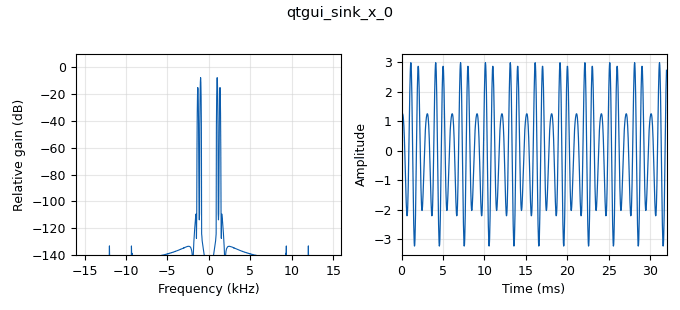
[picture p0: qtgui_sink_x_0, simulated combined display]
options:
  parameters:
    generate_options: qt_gui
    id: sineWave
    output_language: python
    title: Your First Flowgraph
  states: {}

blocks:
- name: frq1
  id: variable_qtgui_range
  parameters:
    orient: Qt.Horizontal
    start: '1000'
    step: '100'
    stop: '10000'
    value: '1000'
  states: {}
- name: samp_rate
  id: variable
  parameters:
    value: '32000'
  states: {}
- name: analog_sig_source_x_0
  id: analog_sig_source_x
  parameters:
    amp: '1'
    freq: frq1
    offset: '0'
    phase: '0'
    samp_rate: samp_rate
    type: float
    waveform: analog.GR_SIN_WAVE
  states: {}
- name: analog_sig_source_x_1
  id: analog_sig_source_x
  parameters:
    amp: '1'
    freq: frq1
    offset: '0'
    phase: '0'
    samp_rate: '24000'
    type: float
    waveform: analog.GR_SIN_WAVE
  states: {}
- name: analog_sig_source_x_2
  id: analog_sig_source_x
  parameters:
    amp: '1'
    freq: frq1
    offset: '0'
    phase: '0'
    samp_rate: samp_rate
    type: float
    waveform: analog.GR_COS_WAVE
  states: {}
- name: analog_sig_source_x_3
  id: analog_sig_source_x
  parameters:
    amp: '1'
    freq: frq1
    offset: '0'
    phase: '0'
    samp_rate: samp_rate
    type: float
    waveform: analog.GR_COS_WAVE
  states: {}
- name: audio_sink_0
  id: audio_sink
  parameters:
    samp_rate: '16000'
  states: {state: disabled}
- name: blocks_add_xx_0
  id: blocks_add_xx
  parameters:
    type: float
  states: {}
- name: blocks_add_xx_1
  id: blocks_add_xx
  parameters:
    type: float
  states: {}
- name: blocks_add_xx_2
  id: blocks_add_xx
  parameters:
    type: float
  states: {}
- name: blocks_throttle_0
  id: blocks_throttle
  parameters:
    samples_per_second: samp_rate
    type: float
  states: {}
- name: qtgui_sink_x_0
  id: qtgui_sink_x
  parameters:
    bw: samp_rate
    fc: '0'
    fftsize: '1024'
    type: float
    wintype: firdes.WIN_BLACKMAN_hARRIS
  states: {}
- name: uhd_usrp_sink_0
  id: uhd_usrp_sink
  parameters:
    ant0: TX/RX
    center_freq0: '0'
    dev_args: '""'
    gain0: '0'
    len_tag_name: ''
    norm_gain0: 'False'
    samp_rate: samp_rate
    sync: sync
    type: fc32
  states: {state: disabled}

connections:
- [analog_sig_source_x_0, '0', blocks_add_xx_0, '1']
- [analog_sig_source_x_1, '0', blocks_add_xx_1, '0']
- [analog_sig_source_x_2, '0', blocks_add_xx_0, '0']
- [analog_sig_source_x_3, '0', blocks_add_xx_1, '1']
- [blocks_add_xx_0, '0', audio_sink_0, '0']
- [blocks_add_xx_0, '0', blocks_add_xx_2, '0']
- [blocks_add_xx_1, '0', blocks_add_xx_2, '1']
- [blocks_add_xx_2, '0', blocks_throttle_0, '0']
- [blocks_throttle_0, '0', qtgui_sink_x_0, '0']

metadata:
  file_format: 1
